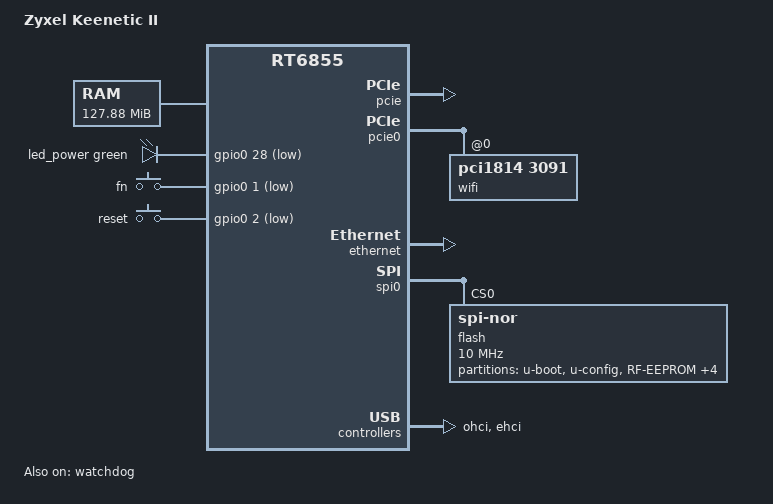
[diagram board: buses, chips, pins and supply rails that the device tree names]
// SPDX-License-Identifier: GPL-2.0-or-later OR MIT
/dts-v1/;

#include <dt-bindings/gpio/gpio.h>
#include <dt-bindings/input/input.h>
#include <dt-bindings/leds/common.h>

#include "rt6855.dtsi"

/ {
	compatible = "zyxel,keenetic-ii", "ralink,rt6855-soc";
	model = "Zyxel Keenetic II";

	aliases {
		led-boot = &led_power;
		led-failsafe = &led_power;
		led-running = &led_power;
		led-upgrade = &led_power;
	};

	memory@20000 {
		device_type = "memory";
		reg = <0x00020000 0x07fe0000>;
	};

	chosen {
		bootargs = "console=ttyS0,57600";
	};

	leds {
		compatible = "gpio-leds";

		led_power: led-power {
			function = LED_FUNCTION_POWER;
			color = <LED_COLOR_ID_GREEN>;
			gpios = <&gpio0 28 GPIO_ACTIVE_LOW>;
		};
	};

	keys {
		compatible = "gpio-keys-polled";
		poll-interval = <20>;

		button-fn {
			label = "fn";
			gpios = <&gpio0 1 GPIO_ACTIVE_LOW>;
			linux,code = <BTN_0>;
		};

		button-reset {
			label = "reset";
			gpios = <&gpio0 2 GPIO_ACTIVE_LOW>;
			linux,code = <KEY_RESTART>;
		};
	};
};

&pcie {
	status = "okay";
};

&gpio0 {
	status = "okay";
};

&pcie0 {
	wifi@0,0 {
		compatible = "pci1814,3091";
		reg = <0x00000000 0 0 0 0>;
		nvmem-cells = <&eeprom_factory_0>;
		nvmem-cell-names = "eeprom";
	};
};

&watchdog {
	status = "okay";
};

&ethernet {
	status = "okay";

	nvmem-cells = <&macaddr_factory_4>;
	nvmem-cell-names = "mac-address";

	/*
	 * The five Fast Ethernet ports sit on the SoC-internal GSW, which
	 * shares the frame-engine register window. The phandle selects the
	 * internal switch bring-up and provides its reset/clock gate; the
	 * portmap preset leaves switch port 4 — the Internet jack — as WAN
	 * and ports 0 through 3 as LAN (CPU port 6), matching the mirrored
	 * enclosure order (see 02_network), so the switch forwards from
	 * early boot, before netifd applies the swconfig configuration.
	 */
	ralink,gsw-syscon = <&pcie_reset>;
	mediatek,portmap = "llllw";
};

&spi0 {
	status = "okay";

	flash@0 {
		compatible = "jedec,spi-nor";
		reg = <0>;
		spi-max-frequency = <10000000>;

		partitions {
			compatible = "fixed-partitions";
			#address-cells = <1>;
			#size-cells = <1>;

			partition@0 {
				label = "u-boot";
				reg = <0x000000 0x030000>;
				read-only;
			};

			partition@30000 {
				label = "u-config";
				reg = <0x030000 0x010000>;
				read-only;
			};

			factory: partition@40000 {
				label = "RF-EEPROM";
				reg = <0x040000 0x010000>;
				read-only;

				nvmem-layout {
					compatible = "fixed-layout";
					#address-cells = <1>;
					#size-cells = <1>;

					eeprom_factory_0: eeprom@0 {
						reg = <0x0 0x200>;
					};

					macaddr_factory_4: macaddr@4 {
						reg = <0x4 0x6>;
					};
				};
			};

			firmware: partition@50000 {
				compatible = "openwrt,uimage", "denx,uimage";
				label = "firmware";
				reg = <0x050000 0xea0000>;
			};

			partition@ef0000 {
				label = "config";
				reg = <0xef0000 0x010000>;
				read-only;
			};

			partition@f00000 {
				label = "storage";
				reg = <0xf00000 0x0f0000>;
				read-only;
			};

			partition@ff0000 {
				label = "dump";
				reg = <0xff0000 0x010000>;
				read-only;
			};
		};
	};
};

&ohci {
	status = "okay";
};

&ehci {
	status = "okay";
};
